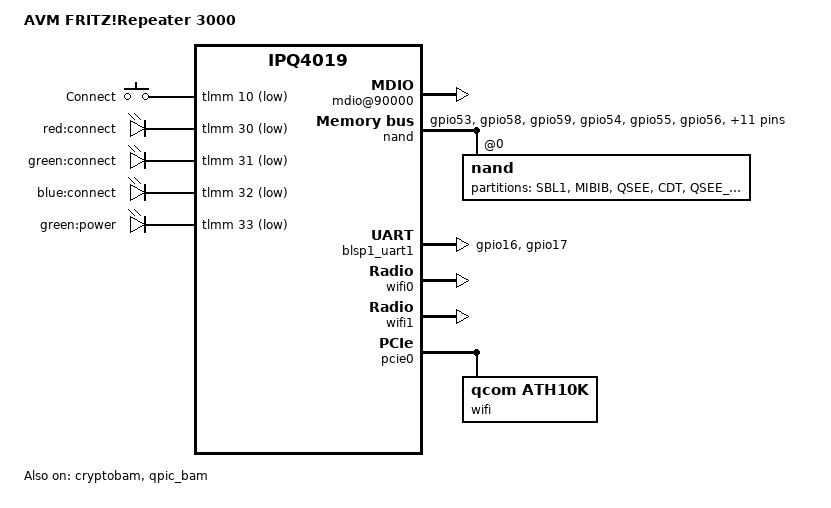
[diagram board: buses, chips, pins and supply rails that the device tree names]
// SPDX-License-Identifier: GPL-2.0-or-later OR MIT

#include "qcom-ipq4019.dtsi"
#include <dt-bindings/gpio/gpio.h>
#include <dt-bindings/input/input.h>
#include <dt-bindings/soc/qcom,tcsr.h>

/ {
	model = "AVM FRITZ!Repeater 3000";
	compatible = "avm,fritzrepeater-3000";

	aliases {
		led-boot = &power_led;
		led-failsafe = &power_led;
		led-running = &power_led;
		led-upgrade = &power_led;
	};

	soc {
		rng@22000 {
			status = "okay";
		};

		mdio@90000 {
			status = "okay";
		};

		ess-psgmii@98000 {
			status = "okay";
		};

		tcsr@1949000 {
			compatible = "qcom,tcsr";
			reg = <0x1949000 0x100>;
			qcom,wifi_glb_cfg = <TCSR_WIFI_GLB_CFG>;
		};

		ess_tcsr@1953000 {
			compatible = "qcom,tcsr";
			reg = <0x1953000 0x1000>;
			qcom,ess-interface-select = <TCSR_ESS_PSGMII>;
		};

		tcsr@1957000 {
			compatible = "qcom,tcsr";
			reg = <0x1957000 0x100>;
			qcom,wifi_noc_memtype_m0_m2 = <TCSR_WIFI_NOC_MEMTYPE_M0_M2>;
		};

		crypto@8e3a000 {
			status = "okay";
		};

		watchdog@b017000 {
			status = "okay";
		};

		ess-switch@c000000 {
			status = "okay";

			switch_lan_bmp = <0x30>;
			switch_wan_bmp = <0x02>;
		};

		edma@c080000 {
			status = "okay";
			qcom,num_gmac = <1>;
		};
	};

	key {
		compatible = "gpio-keys";

		connect {
			label = "Connect";
			gpios = <&tlmm 10 GPIO_ACTIVE_LOW>;
			linux,code = <KEY_WPS_BUTTON>;
		};
	};

	leds {
		compatible = "gpio-leds";

		connect_red {
			label = "red:connect";
			gpios = <&tlmm 30 GPIO_ACTIVE_LOW>;
		};

		connect_green {
			label = "green:connect";
			gpios = <&tlmm 31 GPIO_ACTIVE_LOW>;
		};

		connect_blue {
			label = "blue:connect";
			gpios = <&tlmm 32 GPIO_ACTIVE_LOW>;
		};

		power_led: power {
			label = "green:power";
			gpios = <&tlmm 33 GPIO_ACTIVE_LOW>;
		};
	};
};

&tlmm {
	serial_0_pins: serial_pinmux {
		mux {
			pins = "gpio16", "gpio17";
			function = "blsp_uart0";
			bias-disable;
		};
	};

	nand_pins: nand_pins {
		pullups {
			pins = "gpio53", "gpio58", "gpio59";
			function = "qpic";
			bias-pull-up;
		};

		pulldowns {
			pins = "gpio54", "gpio55", "gpio56",
				"gpio57", "gpio60", "gpio61",
				"gpio62", "gpio63", "gpio64",
				"gpio65", "gpio66", "gpio67",
				"gpio68", "gpio69";
			function = "qpic";
			bias-pull-down;
		};
	};
};

&nand {
	pinctrl-0 = <&nand_pins>;
	pinctrl-names = "default";
	status = "okay";

	nand@0 {
		partitions {
			compatible = "fixed-partitions";
			#address-cells = <1>;
			#size-cells = <1>;

			partition@0 {
				label = "SBL1";
				reg = <0x000000 0x80000>;
				read-only;
			};

			partition@80000 {
				label = "MIBIB";
				reg = <0x080000 0x80000>;
				read-only;
			};

			partition@100000 {
				label = "QSEE";
				reg = <0x100000 0x80000>;
				read-only;
			};

			partition@180000 {
				label = "CDT";
				reg = <0x180000 0x40000>;
				read-only;
			};

			partition@1c0000 {
				label = "QSEE_B";
				reg = <0x1c0000 0x80000>;
				read-only;
			};

			partition@240000 {
				label = "urlader0";
				reg = <0x240000 0x40000>;
				read-only;
			};

			partition@280000 {
				label = "urlader1";
				reg = <0x280000 0x40000>;
				read-only;
			};

			partition@2c0000 {
				label = "nand-tffs";
				reg = <0x2c0000 0x840000>;
				read-only;
			};

			partition@b00000 {
				/* 'kernel1' in AVM firmware */
				label = "uboot0";
				reg = <0xb00000 0x400000>;
			};

			partition@f00000 {
				/* 'kernel2' in AVM firmware */
				label = "uboot1";
				reg = <0xf00000 0x400000>;
			};

			partition@1300000 {
				label = "ubi";
				reg = <0x1300000 0x6d00000>;
			};
		};
	};
};

&gmac0 {
	vlan_tag = <1 0x30>;
};

&cryptobam {
	status = "okay";
};

&blsp_dma {
	status = "okay";
};

&blsp1_uart1 {
	pinctrl-0 = <&serial_0_pins>;
	pinctrl-names = "default";
	status = "okay";
};

&qpic_bam {
	status = "okay";
};

&wifi0 {
	status = "okay";
	/* BDFs are identical for the FRITZ!Box 7530 and the FRITZ!Repeater 3000 */
	qcom,ath10k-calibration-variant = "AVM-FRITZRepeater-3000";
};

&wifi1 {
	status = "okay";
	ieee80211-freq-limit = <5170000 5350000>;
	/* BDFs are identical for the FRITZ!Box 7530 and the FRITZ!Repeater 3000 */
	qcom,ath10k-calibration-variant = "AVM-FRITZRepeater-3000";
};

&pcie0 {
	status = "okay";

	perst-gpio = <&tlmm 35 GPIO_ACTIVE_LOW>;
	wake-gpio = <&tlmm 50 GPIO_ACTIVE_LOW>;

	bridge@0,0 {
		reg = <0x00000000 0 0 0 0>;
		#address-cells = <3>;
		#size-cells = <2>;
		ranges;

		wifi@1,0 {
			/* QCA9984 */
			compatible = "qcom,ath10k";
			status = "okay";
			reg = <0x00010000 0 0 0 0>;
			ieee80211-freq-limit = <5470000 5875000>;
			/* Uses the reference BDF */
		};
	};
};
